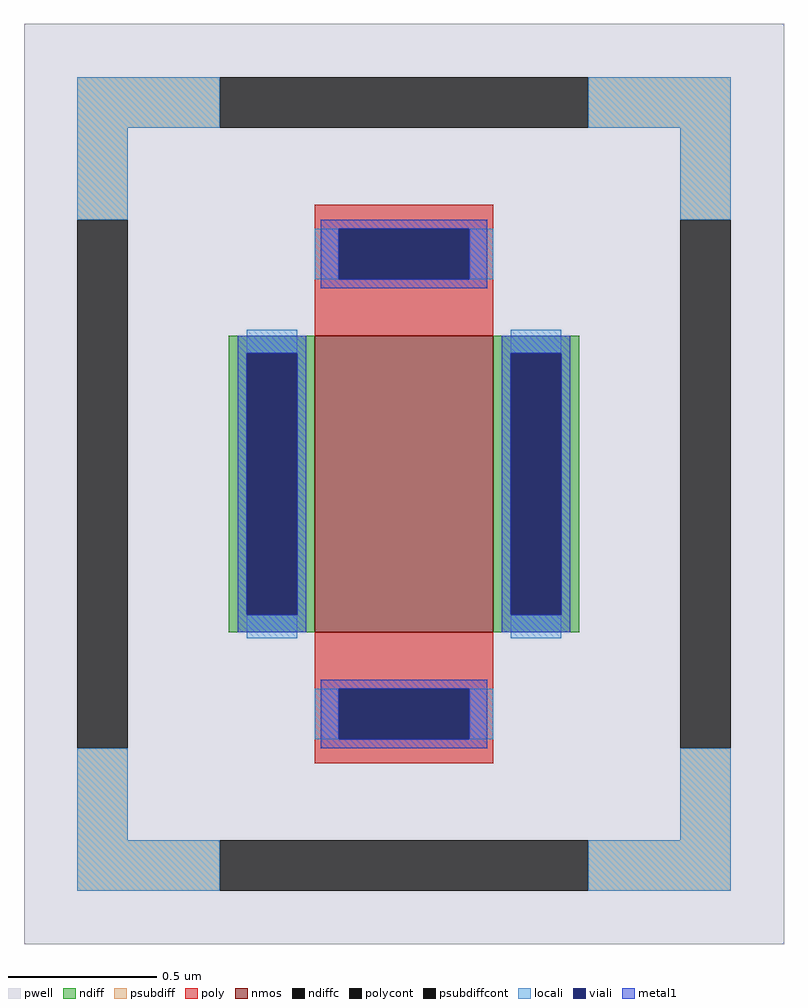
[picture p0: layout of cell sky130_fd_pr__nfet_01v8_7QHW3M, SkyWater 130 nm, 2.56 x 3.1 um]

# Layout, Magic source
magic
tech sky130A
<< pwell >>
rect -128 -155 128 155
<< nmos >>
rect -30 -50 30 50
<< ndiff >>
rect -59 44 -30 50
rect -59 -44 -53 44
rect -36 -44 -30 44
rect -59 -50 -30 -44
rect 30 44 59 50
rect 30 -44 36 44
rect 53 -44 59 44
rect 30 -50 59 -44
<< ndiffc >>
rect -53 -44 -36 44
rect 36 -44 53 44
<< psubdiff >>
rect -110 120 -62 137
rect 62 120 110 137
rect -110 89 -93 120
rect 93 89 110 120
rect -110 -120 -93 -89
rect 93 -120 110 -89
rect -110 -137 -62 -120
rect 62 -137 110 -120
<< psubdiffcont >>
rect -62 120 62 137
rect -110 -89 -93 89
rect 93 -89 110 89
rect -62 -137 62 -120
<< poly >>
rect -30 86 30 94
rect -30 69 -22 86
rect 22 69 30 86
rect -30 50 30 69
rect -30 -69 30 -50
rect -30 -86 -22 -69
rect 22 -86 30 -69
rect -30 -94 30 -86
<< polycont >>
rect -22 69 22 86
rect -22 -86 22 -69
<< locali >>
rect -110 120 -62 137
rect 62 120 110 137
rect -110 89 -93 120
rect 93 89 110 120
rect -30 69 -22 86
rect 22 69 30 86
rect -53 44 -36 52
rect -53 -52 -36 -44
rect 36 44 53 52
rect 36 -52 53 -44
rect -30 -86 -22 -69
rect 22 -86 30 -69
rect -110 -120 -93 -89
rect 93 -120 110 -89
rect -110 -137 -62 -120
rect 62 -137 110 -120
<< viali >>
rect -22 69 22 86
rect -53 -44 -36 44
rect 36 -44 53 44
rect -22 -86 22 -69
<< metal1 >>
rect -28 86 28 89
rect -28 69 -22 86
rect 22 69 28 86
rect -28 66 28 69
rect -56 44 -33 50
rect -56 -44 -53 44
rect -36 -44 -33 44
rect -56 -50 -33 -44
rect 33 44 56 50
rect 33 -44 36 44
rect 53 -44 56 44
rect 33 -50 56 -44
rect -28 -69 28 -66
rect -28 -86 -22 -69
rect 22 -86 28 -69
rect -28 -89 28 -86
<< properties >>
string FIXED_BBOX -101 -128 101 128
string gencell sky130_fd_pr__nfet_01v8
string library sky130
string parameters w 1.0 l 0.6 m 1 nf 1 diffcov 100 polycov 100 guard 1 glc 1 grc 1 gtc 1 gbc 1 tbcov 100 rlcov 100 topc 1 botc 1 poverlap 0 doverlap 1 lmin 0.15 wmin 0.42 compatible {sky130_fd_pr__nfet_01v8 sky130_fd_pr__nfet_01v8_lvt  sky130_fd_bs_flash__special_sonosfet_star  sky130_fd_pr__nfet_g5v0d10v5 sky130_fd_pr__nfet_05v0_nvt  sky130_fd_pr__nfet_03v3_nvt} full_metal 1 viasrc 100 viadrn 100 viagate 100 viagb 0 viagr 0 viagl 0 viagt 0
<< end >>
